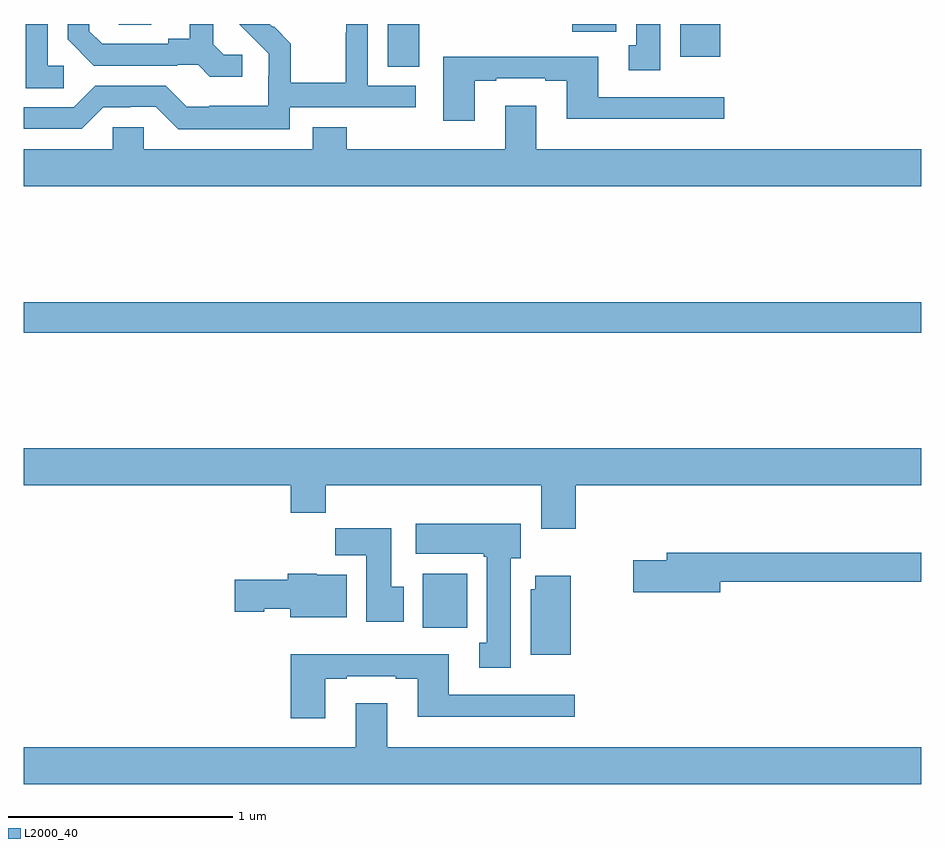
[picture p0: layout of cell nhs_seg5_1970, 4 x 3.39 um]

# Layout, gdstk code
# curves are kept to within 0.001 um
import gdstk
lib = gdstk.Library(unit=1e-6, precision=1e-09)
def R(c, l, rs):  # rectangles x0, y0, x1, y1
    for r in rs: c.add(gdstk.rectangle(r[:2], r[2:], *l))
def P(c, l, *ps):  # polygons
    for p in ps: c.add(gdstk.Polygon(p, *l))
L2000_40 = (2000, 40)

nhs_seg5_1970 = lib.new_cell('nhs_seg5_1970')
R(nhs_seg5_1970, L2000_40, [(228.779,872.108,228.976,872.35), (227,873.424,231,873.56), (228.623,874.609,228.763,874.799), (229.925,874.652,230.104,874.799), (229.445,874.764,229.641,874.799), (227.424,874.795,227.569,874.799)])
P(nhs_seg5_1970, L2000_40, [(228.186,874.428),(228.748,874.428),(228.748,874.524),(228.534,874.524),(228.534,874.799),(228.438,874.799),(228.438,874.76),(228.436,874.76),(228.436,874.537),(228.191,874.537),(228.191,874.711),(228.114,874.788),(228.111,874.785),(228.097,874.799),(227.961,874.799),(228.092,874.666),(228.092,874.569),(228.09,874.569),(228.09,874.435),(227.827,874.435),(227.827,874.431),(227.727,874.431),(227.634,874.524),(227.319,874.524),(227.223,874.428),(227,874.428),(227,874.332),(227.259,874.332),(227.355,874.428),(227.474,874.428),(227.474,874.431),(227.589,874.431),(227.689,874.331),(228.186,874.331)],
  [(227.179,874.614),(227.106,874.614),(227.106,874.799),(227.01,874.799),(227.01,874.513),(227.179,874.513)],
  [(229.837,874.799),(229.73,874.799),(229.73,874.705),(229.697,874.705),(229.697,874.593),(229.837,874.593)],
  [(227.974,874.662),(227.892,874.662),(227.845,874.709),(227.845,874.799),(227.741,874.799),(227.741,874.733),(227.645,874.733),(227.645,874.71),(227.35,874.71),(227.293,874.767),(227.293,874.799),(227.196,874.799),(227.196,874.73),(227.312,874.614),(227.684,874.614),(227.684,874.617),(227.778,874.617),(227.83,874.565),(227.974,874.565)],
  [(229.009,874.545),(229.105,874.545),(229.105,874.557),(229.325,874.557),(229.325,874.545),(229.421,874.545),(229.421,874.376),(230.122,874.376),(230.122,874.473),(229.561,874.473),(229.561,874.654),(228.869,874.654),(228.869,874.368),(229.009,874.368)],
  [(231,874.24),(229.285,874.24),(229.285,874.435),(229.145,874.435),(229.145,874.24),(228.44,874.24),(228.44,874.339),(228.287,874.339),(228.287,874.24),(227.535,874.24),(227.535,874.338),(227.397,874.338),(227.397,874.24),(227,874.24),(227,874.076),(231,874.076)],
  [(229.46,872.744),(231,872.744),(231,872.908),(227,872.908),(227,872.744),(228.191,872.744),(228.191,872.62),(228.347,872.62),(228.347,872.744),(229.307,872.744),(229.307,872.55),(229.46,872.55)],
  [(229.171,872.418),(229.216,872.418),(229.216,872.572),(228.747,872.572),(228.747,872.438),(229.051,872.438),(229.051,872.425),(229.064,872.425),(229.064,872.042),(229.031,872.042),(229.031,871.929),(229.171,871.929)],
  [(228.694,872.292),(228.637,872.292),(228.637,872.551),(228.388,872.551),(228.388,872.432),(228.527,872.432),(228.527,872.136),(228.694,872.136)],
  [(230.104,872.314),(231,872.314),(231,872.443),(229.865,872.443),(229.865,872.409),(229.716,872.409),(229.716,872.267),(230.104,872.267)],
  [(228.439,872.344),(228.306,872.344),(228.306,872.35),(228.176,872.35),(228.176,872.322),(227.94,872.322),(227.94,872.18),(228.072,872.18),(228.072,872.192),(228.188,872.192),(228.188,872.156),(228.439,872.156)],
  [(229.438,872.341),(229.28,872.341),(229.28,872.28),(229.259,872.28),(229.259,871.988),(229.438,871.988)],
  [(228.343,871.881),(228.439,871.881),(228.439,871.893),(228.659,871.893),(228.659,871.881),(228.755,871.881),(228.755,871.712),(229.456,871.712),(229.456,871.809),(228.895,871.809),(228.895,871.99),(228.191,871.99),(228.191,871.704),(228.343,871.704)],
  [(231,871.576),(228.619,871.576),(228.619,871.771),(228.479,871.771),(228.479,871.576),(227,871.576),(227,871.412),(231,871.412)])

lib.write_gds('nhs_seg5_1970.gds')
